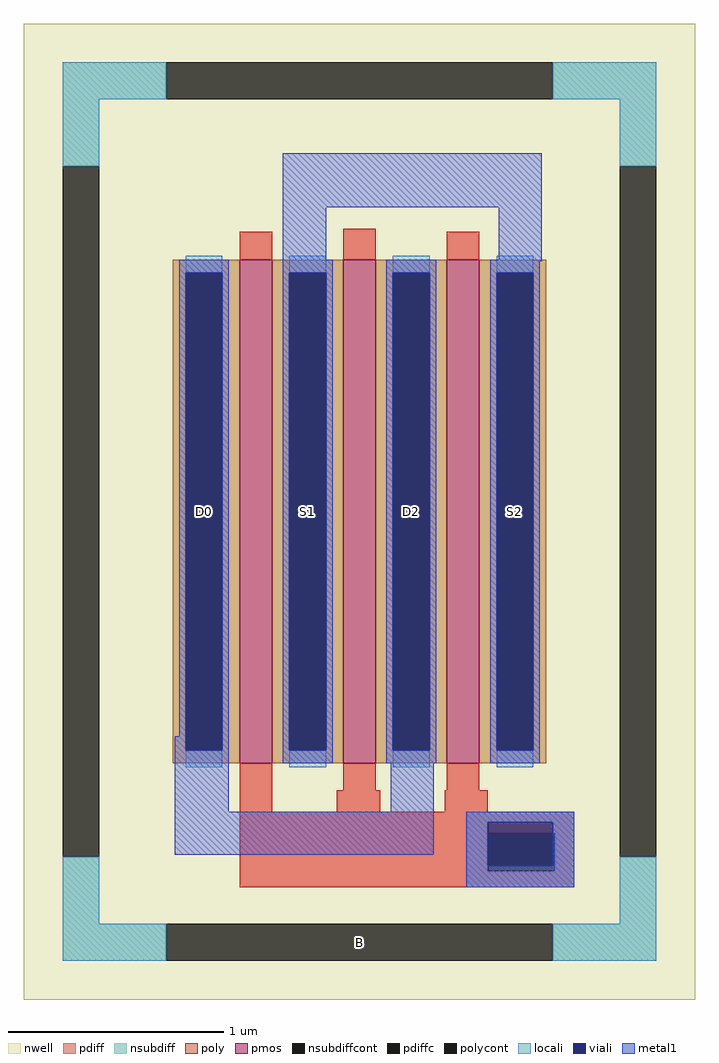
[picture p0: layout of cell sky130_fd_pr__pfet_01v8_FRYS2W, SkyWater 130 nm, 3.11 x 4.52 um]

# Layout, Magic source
magic
tech sky130A
magscale 1 2
<< nwell >>
rect -311 -452 311 452
<< pmos >>
rect -111 -233 -81 233
rect -15 -233 15 233
rect 81 -233 111 233
<< pdiff >>
rect -173 221 -111 233
rect -173 -221 -161 221
rect -127 -221 -111 221
rect -173 -233 -111 -221
rect -81 221 -15 233
rect -81 -221 -65 221
rect -31 -221 -15 221
rect -81 -233 -15 -221
rect 15 221 81 233
rect 15 -221 31 221
rect 65 -221 81 221
rect 15 -233 81 -221
rect 111 221 173 233
rect 111 -221 127 221
rect 161 -221 173 221
rect 111 -233 173 -221
<< pdiffc >>
rect -161 -221 -127 221
rect -65 -221 -31 221
rect 31 -221 65 221
rect 127 -221 161 221
<< nsubdiff >>
rect -275 382 -179 416
rect 179 382 275 416
rect -275 320 -241 382
rect 241 320 275 382
rect -275 -382 -241 -320
rect 241 -382 275 -320
rect -275 -416 -179 -382
rect 179 -416 275 -382
<< nsubdiffcont >>
rect -179 382 179 416
rect -275 -320 -241 320
rect 241 -320 275 320
rect -179 -416 179 -382
<< poly >>
rect -111 233 -81 259
rect -15 233 15 262
rect 81 233 111 259
rect -111 -278 -81 -233
rect -15 -258 15 -233
rect 81 -258 111 -233
rect -21 -278 19 -258
rect 79 -278 119 -258
rect -111 -298 199 -278
rect -111 -333 119 -298
rect 181 -333 199 -298
rect -111 -348 199 -333
<< polycont >>
rect 119 -333 181 -298
<< locali >>
rect -275 382 -179 416
rect 179 382 275 416
rect -275 320 -241 382
rect 241 320 275 382
rect -161 221 -127 237
rect -161 -237 -127 -221
rect -65 221 -31 237
rect -65 -237 -31 -221
rect 31 221 65 237
rect 31 -237 65 -221
rect 127 221 161 237
rect 127 -237 161 -221
rect -275 -382 -241 -320
rect 99 -288 199 -278
rect 99 -333 119 -288
rect 179 -298 199 -288
rect 181 -333 199 -298
rect 99 -348 199 -333
rect 241 -382 275 -320
rect -275 -416 -179 -382
rect 179 -416 275 -382
<< viali >>
rect -161 -221 -127 221
rect -65 -221 -31 221
rect 31 -221 65 221
rect 127 -221 161 221
rect 119 -298 179 -288
rect 119 -328 179 -298
<< metal1 >>
rect -71 282 169 332
rect -71 233 -31 282
rect 129 233 169 282
rect -167 221 -121 233
rect -167 -208 -161 221
rect -171 -221 -161 -208
rect -127 -221 -121 221
rect -171 -278 -121 -221
rect -71 221 -25 233
rect -71 -221 -65 221
rect -31 -221 -25 221
rect -71 -233 -25 -221
rect 25 221 71 233
rect 25 -221 31 221
rect 65 -221 71 221
rect 25 -233 71 -221
rect 121 232 169 233
rect 121 221 167 232
rect 121 -221 127 221
rect 161 -221 167 221
rect 121 -233 167 -221
rect 29 -278 69 -233
rect -171 -318 69 -278
rect 99 -288 199 -278
rect 99 -328 119 -288
rect 179 -328 199 -288
rect 99 -348 199 -328
<< labels >>
rlabel nsubdiffcont 0 -399 0 -399 0 B
port 1 nsew
rlabel pdiffc -144 0 -144 0 0 D0
port 2 nsew
rlabel pdiffc -48 0 -48 0 0 S1
port 4 nsew
rlabel pdiffc 48 0 48 0 0 D2
port 6 nsew
rlabel pdiffc 144 0 144 0 0 S2
port 7 nsew
<< properties >>
string FIXED_BBOX -258 -399 258 399
string gencell sky130_fd_pr__pfet_01v8
string library sky130
string parameters w 2.3333333333333335 l 0.15 m 1 nf 3 diffcov 100 polycov 100 guard 1 glc 1 grc 1 gtc 1 gbc 1 tbcov 100 rlcov 100 topc 1 botc 1 poverlap 0 doverlap 1 lmin 0.15 wmin 0.42 class mosfet compatible {sky130_fd_pr__pfet_01v8  sky130_fd_pr__pfet_01v8_lvt sky130_fd_pr__pfet_01v8_hvt  sky130_fd_pr__pfet_g5v0d10v5} full_metal 1 conn_gates 0 viasrc 100 viadrn 100 viagate 100 viagb 0 viagr 0 viagl 0 viagt 0 doports 1
<< end >>
